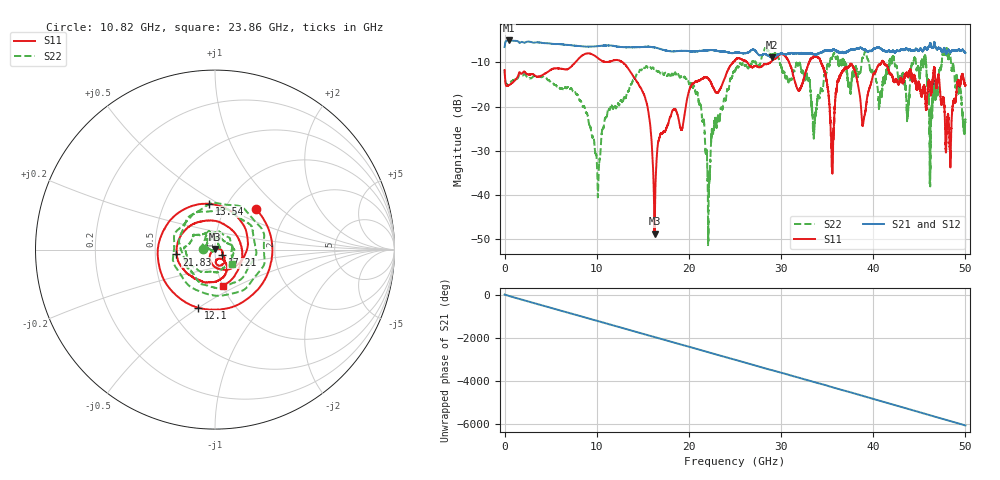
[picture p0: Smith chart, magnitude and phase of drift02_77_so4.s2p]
!Created with skrf (http://scikit-rf.org).
# Hz S RI R 50.0
!freq ReS11 ImS11 ReS21 ImS21 ReS12 ImS12 ReS22 ImS22
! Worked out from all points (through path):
!   10001 points, 300 kHz to 50 GHz, reference 50 ohm
!   highest |S21| = -5.04 dB at 430.3 MHz (marker M1); lowest = -8.9 dB at 28.98 GHz (marker M2)
!   group delay of S21, straight-line fit = 336 ps
!   lowest |S11| = -48.8 dB at 16.27 GHz (marker M3), VSWR 1.01, Z = 49.8 + j0.319 ohm
!   |S11| at or under -10 dB: start of sweep to 7.668 GHz; 12.82 GHz to 24.78 GHz (11.96 GHz wide, 63.6 % of centre); 41.13 GHz to end of sweep (the widest 3 of 7)
!   |S22| runs from -51.6 to -6.7 dB; largest |S21 - S12| = 0.03
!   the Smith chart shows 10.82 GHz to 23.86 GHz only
!   S11 on the Smith chart (normalised r, x): 10.82 GHz: 1.39, +0.70; 12.1 GHz: 0.68, -0.50; 13.54 GHz: 0.82, +0.45; 17.21 GHz: 1.08, -0.07; 21.83 GHz: 0.65, -0.04; 23.86 GHz: 1.01, -0.42
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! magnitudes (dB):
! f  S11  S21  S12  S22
! 300 kHz  -11.7  -6.5  -6.5  -11.7
! 430.3 MHz  -15.2  -5.0  -5.0  -14.8
! 8.335 GHz  -8.6  -6.4  -6.4  -19.0
! 10.11 GHz  -9.0  -6.3  -6.3  -39.0
! 10.82 GHz  -9.9  -6.2  -6.2  -23.6
! 12.1 GHz  -9.5  -6.4  -6.4  -20.4
! 13.54 GHz  -11.8  -6.6  -6.6  -15.8
! 16.27 GHz  -48.8  -6.6  -6.6  -11.7
! 16.67 GHz  -28.0  -6.8  -6.8  -12.1
! 17.21 GHz  -25.8  -7.2  -7.1  -12.7
! 21.83 GHz  -13.3  -7.3  -7.3  -30.7
! 23.86 GHz  -13.7  -7.6  -7.5  -18.3
! 25 GHz  -9.6  -7.8  -7.8  -12.0
! 28.98 GHz  -9.8  -8.9  -8.9  -7.9
! 33.34 GHz  -9.1  -8.0  -8.0  -20.2
! 35.55 GHz  -31.3  -7.2  -7.2  -9.1
! 36.78 GHz  -11.9  -7.8  -7.8  -10.1
! 38.94 GHz  -23.3  -7.1  -7.0  -8.9
! 41.67 GHz  -11.9  -7.4  -7.5  -12.2
! 46.26 GHz  -17.4  -6.2  -6.2  -23.7
! 48.12 GHz  -22.3  -7.2  -7.1  -9.0
! 50 GHz  -15.1  -7.8  -7.9  -23.0
